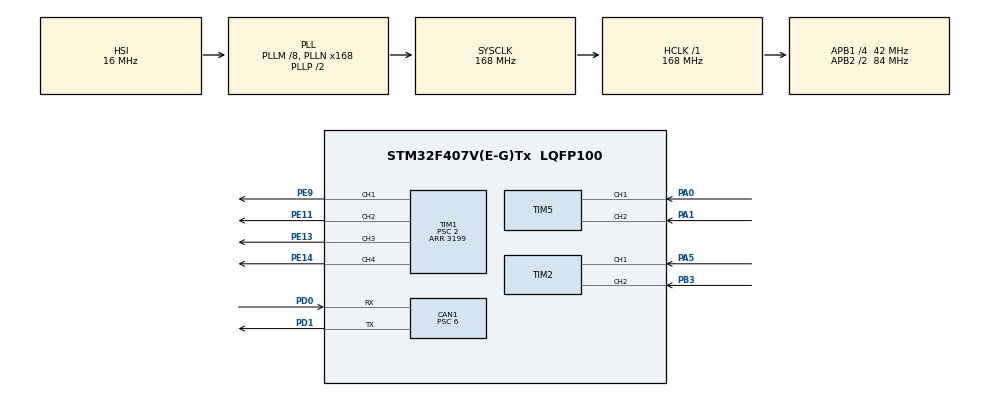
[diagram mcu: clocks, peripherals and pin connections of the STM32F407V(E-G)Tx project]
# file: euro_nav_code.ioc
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CAN1.BS1=CAN_BS1_11TQ
CAN1.BS2=CAN_BS2_2TQ
CAN1.CalculateBaudRate=500000
CAN1.CalculateTimeBit=2000
CAN1.CalculateTimeQuantum=142.85714285714286
CAN1.Mode=CAN_MODE_NORMAL
CAN1.NART=ENABLE
CAN1.Prescaler=6
Mcu.Family=STM32F4
Mcu.Name=STM32F407V(E-G)Tx
Mcu.Package=LQFP100
NVIC.CAN1_RX0_IRQn=true\:0\:0\:false\:false\:true\:true\:true\:true
NVIC.PriorityGroup=NVIC_PRIORITYGROUP_0
NVIC.TIM6_DAC_IRQn=true\:0\:2\:false\:false\:true\:true\:true\:true
PA0-WKUP.Signal=S_TIM5_CH1
PA1.Signal=S_TIM5_CH2
PA5.Signal=S_TIM2_CH1_ETR
PB3.Signal=S_TIM2_CH2
PD0.Mode=CAN_Activate
PD0.Signal=CAN1_RX
PD1.Mode=CAN_Activate
PD1.Signal=CAN1_TX
PE11.Signal=S_TIM1_CH2
PE13.Signal=S_TIM1_CH3
PE14.Signal=S_TIM1_CH4
PE9.Signal=S_TIM1_CH1
PH0-OSC_IN.Mode=HSE-External-Oscillator
PH0-OSC_IN.Signal=RCC_OSC_IN
PH1-OSC_OUT.Mode=HSE-External-Oscillator
PH1-OSC_OUT.Signal=RCC_OSC_OUT
ProjectManager.HeapSize=0x200
ProjectManager.StackSize=0x400
ProjectManager.TargetToolchain=STM32CubeIDE
RCC.48MHZClocksFreq_Value=48000000
RCC.AHBFreq_Value=168000000
RCC.APB1CLKDivider=RCC_HCLK_DIV4
RCC.APB1Freq_Value=42000000
RCC.APB1TimFreq_Value=84000000
RCC.APB2CLKDivider=RCC_HCLK_DIV2
RCC.APB2Freq_Value=84000000
RCC.APB2TimFreq_Value=168000000
RCC.CortexFreq_Value=168000000
RCC.HCLKFreq_Value=168000000
RCC.HSE_VALUE=8000000
RCC.HSI_VALUE=16000000
RCC.LSE_VALUE=32768
RCC.PLLM=8
RCC.PLLN=168
RCC.PLLQ=7
RCC.SYSCLKFreq_VALUE=168000000
RCC.SYSCLKSource=RCC_SYSCLKSOURCE_PLLCLK
RCC.VCOOutputFreq_Value=336000000
SH.S_TIM1_CH1.0=TIM1_CH1,PWM Generation1 CH1
SH.S_TIM1_CH2.0=TIM1_CH2,PWM Generation2 CH2
SH.S_TIM1_CH3.0=TIM1_CH3,PWM Generation3 CH3
SH.S_TIM1_CH4.0=TIM1_CH4,PWM Generation4 CH4
SH.S_TIM2_CH1_ETR.0=TIM2_CH1,Encoder_Interface
SH.S_TIM2_CH2.0=TIM2_CH2,Encoder_Interface
SH.S_TIM5_CH1.0=TIM5_CH1,Encoder_Interface
SH.S_TIM5_CH2.0=TIM5_CH2,Encoder_Interface
TIM1.Channel-PWM\ Generation1\ CH1=TIM_CHANNEL_1
TIM1.Channel-PWM\ Generation2\ CH2=TIM_CHANNEL_2
TIM1.Channel-PWM\ Generation3\ CH3=TIM_CHANNEL_3
TIM1.Channel-PWM\ Generation4\ CH4=TIM_CHANNEL_4
TIM1.Period=3199
TIM1.Prescaler=2
TIM6.Period=419
TIM6.Prescaler=999
VP_TIM6_VS_ClockSourceINT.Mode=Enable_Timer
board=STM32F407G-DISC1

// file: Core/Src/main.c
/* USER CODE BEGIN Header */
/**
 ******************************************************************************
 * @file           : main.c
 * @brief          : Main program body
 ******************************************************************************
 * @attention
 *
 * Copyright (c) 2023 STMicroelectronics.
 * All rights reserved.
 *
 * This software is licensed under terms that can be found in the LICENSE file
 * in the root directory of this software component.
 * If no LICENSE file comes with this software, it is provided AS-IS.
 *
 ******************************************************************************
 */
/* USER CODE END Header */
#include "main.h"

/* USER CODE BEGIN Includes */
#include "CAN_Driver.h"
#include "NavStateMachineTest.h"
#include "math.h"
#include "Navigation.h"
#include "NavConfig.h"
#include "NavTypes.h"
#include "NavConstants.h"
#include"Nav_Standalone.h"
/* USER CODE END Includes */

CAN_HandleTypeDef hcan1;

TIM_HandleTypeDef htim1;
TIM_HandleTypeDef htim2;
TIM_HandleTypeDef htim5;
TIM_HandleTypeDef htim6;

/* USER CODE BEGIN PV */
/*
 * These declarations are mandatory to assure the functioning of the CAN_Driver.c
 */

CAN_HandleTypeDef* CAN_Handler = &hcan1;

extern uint8_t CAN_messageReceivedFlag;
extern uint8_t CAN_stopSignalFlag;
extern uint8_t CAN_master_acknowledgeFlag;
extern uint8_t CAN_resetSignalFlag;

extern uint8_t CAN_RX_Message[8];
extern CAN_RxHeaderTypeDef CAN_RxHeader;

extern Nav_NavigatorCurrentStates_ten Nav_NavigatorCurrentState_en;

extern Nav_TrajectoryStates_ten Nav_TrajectoryState_en ;
extern Nav_TrajectoryModes_ten  Nav_TrajectoryMode_en ;
extern Nav_GoToXY_States_ten Nav_GoToXY_State_en  ;
extern Nav_TrapezePhases_ten Nav_TrapezePhase_en ;
extern int32_t Nav_OverflowLeftEncoder_i32 ;
extern int32_t Nav_PrevLeftEncoderCNT_i32 ;
uint8_t Nav_FirstTimeRecievingTargets = 1 ;
int Sensor=0;
uint8_t currentPeriode = 0;
double x, y, result;
extern double Nav_CurrentX_mm_d;
extern double Nav_CurrentY_mm_d;
extern double Nav_CurrentAngle_deg_d;
extern double Nav_CurrentAngle_rad_d;
extern double Nav_CurrentTargetAngle_deg_d ;
extern double Nav_PrevTargetAngle_deg_d ;
extern uint8_t Nav_NumberOfTargets_u8;

int testDebug = 0;
int test1,test2,test3,test4=0;

/* USER CODE END PV */

void SystemClock_Config(void);
static void MX_GPIO_Init(void);
static void MX_CAN1_Init(void);
static void MX_TIM6_Init(void);
static void MX_TIM1_Init(void);
static void MX_TIM2_Init(void);
static void MX_TIM5_Init(void);

int main(void)
{
	/* USER CODE BEGIN 1 */

	testDebug ++;
	/* USER CODE END 1 */

	/* MCU Configuration--------------------------------------------------------*/

	/* Reset of all peripherals, Initializes the Flash interface and the Systick. HAL_Init(); */

	/* Configure the system clock */

	SystemClock_Config();

	/* Initialize all configured peripherals */
	MX_GPIO_Init();
	MX_CAN1_Init();
	MX_TIM6_Init();
	MX_TIM1_Init();
	MX_TIM2_Init();
	MX_TIM5_Init();
	/* USER CODE BEGIN 2 */

	/*
	 * This piece of code is mandatory for the correct functioning of the CAN and TIM peripherals
	 */

	CAN_filterConfig();
	if(HAL_CAN_Start(&hcan1) != HAL_OK){
		Error_Handler();
	}
	if (HAL_CAN_ActivateNotification(&hcan1, CAN_IT_RX_FIFO0_MSG_PENDING) != HAL_OK)
	{
		Error_Handler();
	}

	HAL_TIM_Encoder_Start(&htim2,TIM_CHANNEL_1);
	HAL_TIM_Encoder_Start(&htim2,TIM_CHANNEL_2);

	HAL_TIM_Encoder_Start(&htim5,TIM_CHANNEL_1);
	HAL_TIM_Encoder_Start(&htim5,TIM_CHANNEL_2);

	HAL_TIM_PWM_Start(&htim1,TIM_CHANNEL_1);
	HAL_TIM_PWM_Start(&htim1,TIM_CHANNEL_2);
	HAL_TIM_PWM_Start(&htim1,TIM_CHANNEL_3);
	HAL_TIM_PWM_Start(&htim1,TIM_CHANNEL_4);

  // HAL_Delay(5000);

	Nav_vNavigatorStateMachineInit();
	HAL_TIM_Base_Start_IT(&htim6);

	/* USER CODE END 2 */

	/* Infinite loop */
	while (1)
	{

		/* USER CODE BEGIN 3 */
						/*MOTOR_PWM->RIGHT_FORWARD = test1;
						 MOTOR_PWM->RIGHT_REVERSE = test2;

						 MOTOR_PWM->LEFT_FORWARD = test3;
						 MOTOR_PWM->LEFT_REVERSE = test4 ;*/
	}
	/* USER CODE END 3 */
}

void SystemClock_Config(void)
{
	RCC_OscInitTypeDef RCC_OscInitStruct = {0};
	RCC_ClkInitTypeDef RCC_ClkInitStruct = {0};

	/** Configure the main internal regulator output voltage
	 */
	__HAL_RCC_PWR_CLK_ENABLE();
	__HAL_PWR_VOLTAGESCALING_CONFIG(PWR_REGULATOR_VOLTAGE_SCALE1);

	/** Initializes the RCC Oscillators according to the specified parameters
	 * in the RCC_OscInitTypeDef structure.
	 */
	RCC_OscInitStruct.OscillatorType = RCC_OSCILLATORTYPE_HSI;
	RCC_OscInitStruct.HSIState = RCC_HSI_ON;
	RCC_OscInitStruct.HSICalibrationValue = RCC_HSICALIBRATION_DEFAULT;
	RCC_OscInitStruct.PLL.PLLState = RCC_PLL_ON;
	RCC_OscInitStruct.PLL.PLLSource = RCC_PLLSOURCE_HSI;
	RCC_OscInitStruct.PLL.PLLM = 8;
	RCC_OscInitStruct.PLL.PLLN = 168;
	RCC_OscInitStruct.PLL.PLLP = RCC_PLLP_DIV2;
	RCC_OscInitStruct.PLL.PLLQ = 7;
	if (HAL_RCC_OscConfig(&RCC_OscInitStruct) != HAL_OK)
	{
		Error_Handler();
	}

	/** Initializes the CPU, AHB and APB buses clocks
	 */
	RCC_ClkInitStruct.ClockType = RCC_CLOCKTYPE_HCLK|RCC_CLOCKTYPE_SYSCLK
			|RCC_CLOCKTYPE_PCLK1|RCC_CLOCKTYPE_PCLK2;
	RCC_ClkInitStruct.SYSCLKSource = RCC_SYSCLKSOURCE_PLLCLK;
	RCC_ClkInitStruct.AHBCLKDivider = RCC_SYSCLK_DIV1;
	RCC_ClkInitStruct.APB1CLKDivider = RCC_HCLK_DIV4;
	RCC_ClkInitStruct.APB2CLKDivider = RCC_HCLK_DIV2;

	if (HAL_RCC_ClockConfig(&RCC_ClkInitStruct, FLASH_LATENCY_5) != HAL_OK)
	{
		Error_Handler();
	}
}

static void MX_CAN1_Init(void)
{

	hcan1.Instance = CAN1;
	hcan1.Init.Prescaler = 6;
	hcan1.Init.Mode = CAN_MODE_NORMAL;
	hcan1.Init.SyncJumpWidth = CAN_SJW_1TQ;
	hcan1.Init.TimeSeg1 = CAN_BS1_11TQ;
	hcan1.Init.TimeSeg2 = CAN_BS2_2TQ;
	hcan1.Init.TimeTriggeredMode = DISABLE;
	hcan1.Init.AutoBusOff = DISABLE;
	hcan1.Init.AutoWakeUp = DISABLE;
	hcan1.Init.AutoRetransmission = ENABLE;
	hcan1.Init.ReceiveFifoLocked = DISABLE;
	hcan1.Init.TransmitFifoPriority = DISABLE;
	if (HAL_CAN_Init(&hcan1) != HAL_OK)
	{
		Error_Handler();
	}

}

static void MX_TIM1_Init(void)
{

	TIM_MasterConfigTypeDef sMasterConfig = {0};
	TIM_OC_InitTypeDef sConfigOC = {0};
	TIM_BreakDeadTimeConfigTypeDef sBreakDeadTimeConfig = {0};

	htim1.Instance = TIM1;
	htim1.Init.Prescaler = 2;
	htim1.Init.CounterMode = TIM_COUNTERMODE_UP;
	htim1.Init.Period = 3199;
	htim1.Init.ClockDivision = TIM_CLOCKDIVISION_DIV1;
	htim1.Init.RepetitionCounter = 0;
	htim1.Init.AutoReloadPreload = TIM_AUTORELOAD_PRELOAD_DISABLE;
	if (HAL_TIM_PWM_Init(&htim1) != HAL_OK)
	{
		Error_Handler();
	}
	sMasterConfig.MasterOutputTrigger = TIM_TRGO_RESET;
	sMasterConfig.MasterSlaveMode = TIM_MASTERSLAVEMODE_DISABLE;
	if (HAL_TIMEx_MasterConfigSynchronization(&htim1, &sMasterConfig) != HAL_OK)
	{
		Error_Handler();
	}
	sConfigOC.OCMode = TIM_OCMODE_PWM1;
	sConfigOC.Pulse = 0;
	sConfigOC.OCPolarity = TIM_OCPOLARITY_HIGH;
	sConfigOC.OCNPolarity = TIM_OCNPOLARITY_HIGH;
	sConfigOC.OCFastMode = TIM_OCFAST_DISABLE;
	sConfigOC.OCIdleState = TIM_OCIDLESTATE_RESET;
	sConfigOC.OCNIdleState = TIM_OCNIDLESTATE_RESET;
	if (HAL_TIM_PWM_ConfigChannel(&htim1, &sConfigOC, TIM_CHANNEL_1) != HAL_OK)
	{
		Error_Handler();
	}
	if (HAL_TIM_PWM_ConfigChannel(&htim1, &sConfigOC, TIM_CHANNEL_2) != HAL_OK)
	{
		Error_Handler();
	}
	if (HAL_TIM_PWM_ConfigChannel(&htim1, &sConfigOC, TIM_CHANNEL_3) != HAL_OK)
	{
		Error_Handler();
	}
	if (HAL_TIM_PWM_ConfigChannel(&htim1, &sConfigOC, TIM_CHANNEL_4) != HAL_OK)
	{
		Error_Handler();
	}
	sBreakDeadTimeConfig.OffStateRunMode = TIM_OSSR_DISABLE;
	sBreakDeadTimeConfig.OffStateIDLEMode = TIM_OSSI_DISABLE;
	sBreakDeadTimeConfig.LockLevel = TIM_LOCKLEVEL_OFF;
	sBreakDeadTimeConfig.DeadTime = 0;
	sBreakDeadTimeConfig.BreakState = TIM_BREAK_DISABLE;
	sBreakDeadTimeConfig.BreakPolarity = TIM_BREAKPOLARITY_HIGH;
	sBreakDeadTimeConfig.AutomaticOutput = TIM_AUTOMATICOUTPUT_DISABLE;
	if (HAL_TIMEx_ConfigBreakDeadTime(&htim1, &sBreakDeadTimeConfig) != HAL_OK)
	{
		Error_Handler();
	}
	HAL_TIM_MspPostInit(&htim1);

}

static void MX_TIM2_Init(void)
{

	TIM_Encoder_InitTypeDef sConfig = {0};
	TIM_MasterConfigTypeDef sMasterConfig = {0};

	htim2.Instance = TIM2;
	htim2.Init.Prescaler = 0;
	htim2.Init.CounterMode = TIM_COUNTERMODE_UP;
	htim2.Init.Period = 4294967295;
	htim2.Init.ClockDivision = TIM_CLOCKDIVISION_DIV1;
	htim2.Init.AutoReloadPreload = TIM_AUTORELOAD_PRELOAD_DISABLE;
	sConfig.EncoderMode = TIM_ENCODERMODE_TI1;
	sConfig.IC1Polarity = TIM_ICPOLARITY_RISING;
	sConfig.IC1Selection = TIM_ICSELECTION_DIRECTTI;
	sConfig.IC1Prescaler = TIM_ICPSC_DIV1;
	sConfig.IC1Filter = 0;
	sConfig.IC2Polarity = TIM_ICPOLARITY_RISING;
	sConfig.IC2Selection = TIM_ICSELECTION_DIRECTTI;
	sConfig.IC2Prescaler = TIM_ICPSC_DIV1;
	sConfig.IC2Filter = 0;
	if (HAL_TIM_Encoder_Init(&htim2, &sConfig) != HAL_OK)
	{
		Error_Handler();
	}
	sMasterConfig.MasterOutputTrigger = TIM_TRGO_RESET;
	sMasterConfig.MasterSlaveMode = TIM_MASTERSLAVEMODE_DISABLE;
	if (HAL_TIMEx_MasterConfigSynchronization(&htim2, &sMasterConfig) != HAL_OK)
	{
		Error_Handler();
	}

}

static void MX_TIM5_Init(void)
{

	TIM_Encoder_InitTypeDef sConfig = {0};
	TIM_MasterConfigTypeDef sMasterConfig = {0};

	htim5.Instance = TIM5;
	htim5.Init.Prescaler = 0;
	htim5.Init.CounterMode = TIM_COUNTERMODE_UP;
	htim5.Init.Period = 4294967295;
	htim5.Init.ClockDivision = TIM_CLOCKDIVISION_DIV1;
	htim5.Init.AutoReloadPreload = TIM_AUTORELOAD_PRELOAD_DISABLE;
	sConfig.EncoderMode = TIM_ENCODERMODE_TI1;
	sConfig.IC1Polarity = TIM_ICPOLARITY_RISING;
	sConfig.IC1Selection = TIM_ICSELECTION_DIRECTTI;
	sConfig.IC1Prescaler = TIM_ICPSC_DIV1;
	sConfig.IC1Filter = 0;
	sConfig.IC2Polarity = TIM_ICPOLARITY_RISING;
	sConfig.IC2Selection = TIM_ICSELECTION_DIRECTTI;
	sConfig.IC2Prescaler = TIM_ICPSC_DIV1;
	sConfig.IC2Filter = 0;
	if (HAL_TIM_Encoder_Init(&htim5, &sConfig) != HAL_OK)
	{
		Error_Handler();
	}
	sMasterConfig.MasterOutputTrigger = TIM_TRGO_RESET;
	sMasterConfig.MasterSlaveMode = TIM_MASTERSLAVEMODE_DISABLE;
	if (HAL_TIMEx_MasterConfigSynchronization(&htim5, &sMasterConfig) != HAL_OK)
	{
		Error_Handler();
	}

}

static void MX_TIM6_Init(void)
{

	TIM_MasterConfigTypeDef sMasterConfig = {0};

	htim6.Instance = TIM6;
	htim6.Init.Prescaler = 999;
	htim6.Init.CounterMode = TIM_COUNTERMODE_UP;
	htim6.Init.Period = 419;
	htim6.Init.AutoReloadPreload = TIM_AUTORELOAD_PRELOAD_DISABLE;
	if (HAL_TIM_Base_Init(&htim6) != HAL_OK)
	{
		Error_Handler();
	}
	sMasterConfig.MasterOutputTrigger = TIM_TRGO_RESET;
	sMasterConfig.MasterSlaveMode = TIM_MASTERSLAVEMODE_DISABLE;
	if (HAL_TIMEx_MasterConfigSynchronization(&htim6, &sMasterConfig) != HAL_OK)
	{
		Error_Handler();
	}

}

static void MX_GPIO_Init(void)
{

	/* GPIO Ports Clock Enable */
	__HAL_RCC_GPIOH_CLK_ENABLE();
	__HAL_RCC_GPIOA_CLK_ENABLE();
	__HAL_RCC_GPIOE_CLK_ENABLE();
	__HAL_RCC_GPIOD_CLK_ENABLE();
	__HAL_RCC_GPIOB_CLK_ENABLE();

}

/* USER CODE BEGIN 4 */

// Timer Callbacks.
void HAL_TIM_PeriodElapsedCallback(TIM_HandleTypeDef *htim){
	if (htim==&htim6){

	//Nav_vTestPathStateMachine();
		//Nav_vFeedbackRoutine();

			//Nav_vStandaloneStateMachine_Routine();
		Nav_vStateMachine_Routine();
		Nav_vNavigationRoutine();
			if(currentPeriode == 0){
			CAN_sendCurrentState(Nav_CurrentX_mm_d ,  Nav_CurrentY_mm_d, Nav_CurrentAngle_deg_d , (uint8_t)Nav_NavigatorCurrentState_en);
		}
			currentPeriode = (currentPeriode + 1) % 20;

	}}

// User button Callback
/*
void HAL_GPIO_EXTI_Callback(uint16_t GPIO_Pin) {
	if (GPIO_Pin == GPIO_PIN_0) {
		CAN_sendPosition_test(x_pos, y_pos, theta_pos);
	}
}
 */
// CAN receive callback
void HAL_CAN_RxFifo0MsgPendingCallback(CAN_HandleTypeDef *hcan) {
	if (HAL_CAN_GetRxMessage(&hcan1, CAN_RX_FIFO0, &CAN_RxHeader, CAN_RX_Message) != HAL_OK) {
		Error_Handler();
	}
	CAN_stopSignalFlag = CAN_isStopSignal_b();
	CAN_master_acknowledgeFlag = CAN_isAcknowledgeSignal_b();
	CAN_resetSignalFlag = CAN_isResetSignal_b();

	CAN_messageReceivedFlag = 1;
}

/* USER CODE END 4 */

void Error_Handler(void)
{
	__disable_irq();
	while (1)
	{
	}
}
